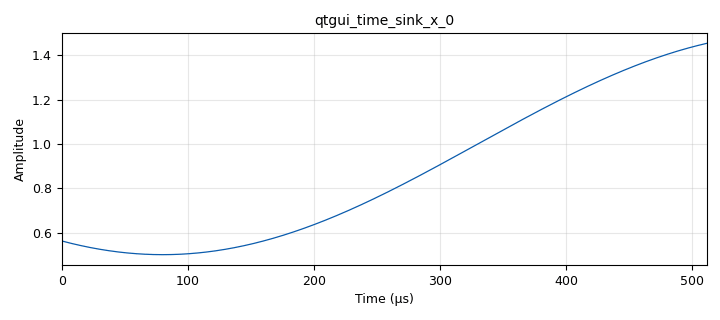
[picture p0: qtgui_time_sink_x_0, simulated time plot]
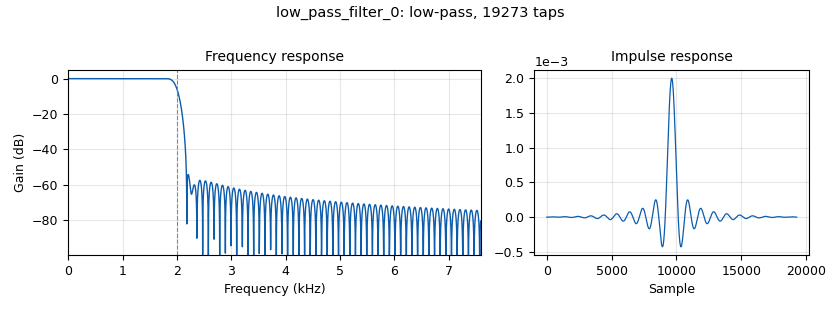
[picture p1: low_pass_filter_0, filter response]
options:
  parameters:
    generate_options: qt_gui
    id: top_block
    output_language: python
  states: {}

blocks:
- name: m
  id: variable_qtgui_range
  parameters:
    label: índice de modulación
    start: '0'
    step: '0.01'
    stop: '1'
    value: '0.5'
  states: {}
- name: samp_rate
  id: variable
  parameters:
    value: 2e6
  states: {}
- name: analog_const_source_x_0
  id: analog_const_source_x
  parameters:
    const: m
    type: float
  states: {}
- name: analog_const_source_x_0_0
  id: analog_const_source_x
  parameters:
    const: '1'
    type: float
  states: {}
- name: analog_sig_source_x_0
  id: analog_sig_source_x
  parameters:
    amp: '1'
    freq: '1000'
    offset: '0'
    phase: '0'
    samp_rate: samp_rate
    type: float
    waveform: analog.GR_SIN_WAVE
  states: {}
- name: analog_sig_source_x_1
  id: analog_sig_source_x
  parameters:
    amp: '1'
    freq: 1e6
    offset: '0'
    phase: '0'
    samp_rate: samp_rate
    type: float
    waveform: analog.GR_COS_WAVE
  states: {}
- name: blocks_abs_xx_0
  id: blocks_abs_xx
  parameters:
    type: float
  states: {}
- name: blocks_add_xx_0
  id: blocks_add_xx
  parameters:
    type: float
  states: {}
- name: blocks_multiply_xx_0
  id: blocks_multiply_xx
  parameters:
    type: float
  states: {}
- name: blocks_multiply_xx_1
  id: blocks_multiply_xx
  parameters:
    type: float
  states: {}
- name: low_pass_filter_0
  id: low_pass_filter
  parameters:
    cutoff_freq: 2e3
    decim: '1'
    gain: '1'
    samp_rate: samp_rate
    type: fir_filter_fff
    width: '250'
    win: window.WIN_HAMMING
  states: {}
- name: qtgui_time_sink_x_0
  id: qtgui_time_sink_x
  parameters:
    autoscale: 'True'
    label1: ''
    size: '1024'
    srate: samp_rate
    type: float
  states: {}

connections:
- [analog_const_source_x_0, '0', blocks_multiply_xx_0, '1']
- [analog_const_source_x_0_0, '0', blocks_add_xx_0, '1']
- [analog_sig_source_x_0, '0', blocks_multiply_xx_0, '0']
- [analog_sig_source_x_1, '0', blocks_multiply_xx_1, '1']
- [blocks_abs_xx_0, '0', low_pass_filter_0, '0']
- [blocks_add_xx_0, '0', blocks_multiply_xx_1, '0']
- [blocks_multiply_xx_0, '0', blocks_add_xx_0, '0']
- [blocks_multiply_xx_1, '0', blocks_abs_xx_0, '0']
- [low_pass_filter_0, '0', qtgui_time_sink_x_0, '0']

metadata:
  file_format: 1
  grc_version: 3.10.5.1
